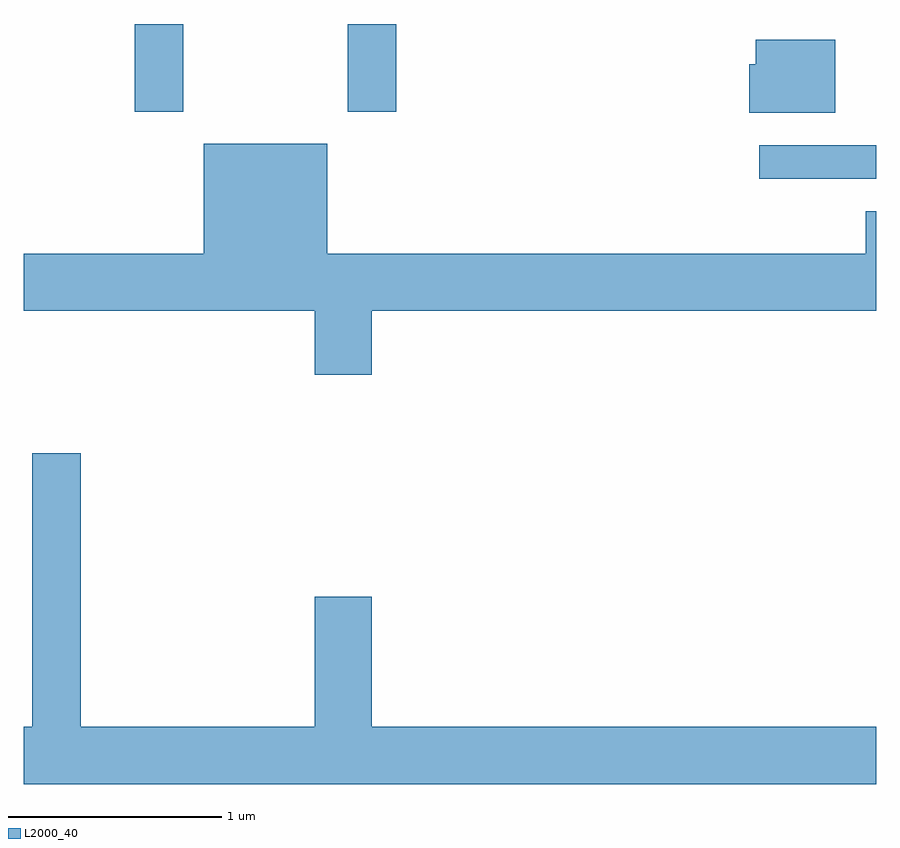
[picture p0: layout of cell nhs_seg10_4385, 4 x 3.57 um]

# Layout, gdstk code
import gdstk
lib = gdstk.Library(unit=1e-6, precision=1e-09)
def R(c, l, rs):  # rectangles x0, y0, x1, y1
    for r in rs: c.add(gdstk.rectangle(r[:2], r[2:], *l))
def P(c, l, *ps):  # polygons
    for p in ps: c.add(gdstk.Polygon(p, *l))
L2000_40 = (2000, 40)

nhs_seg10_4385 = lib.new_cell('nhs_seg10_4385')
R(nhs_seg10_4385, L2000_40, [(317.063,2187.796,317.611,2187.954), (314.131,2188.111,314.359,2188.522), (315.131,2188.111,315.359,2188.522)])
P(nhs_seg10_4385, L2000_40, [(317.419,2188.449),(317.046,2188.449),(317.046,2188.334),(317.016,2188.334),(317.016,2188.106),(317.419,2188.106)],
  [(315.244,2187.176),(317.611,2187.176),(317.611,2187.644),(317.561,2187.644),(317.561,2187.444),(315.034,2187.444),(315.034,2187.959),(314.456,2187.959),(314.456,2187.444),(313.611,2187.444),(313.611,2187.176),(314.976,2187.176),(314.976,2186.876),(315.244,2186.876)],
  [(317.611,2185.224),(315.244,2185.224),(315.244,2185.834),(314.976,2185.834),(314.976,2185.224),(313.879,2185.224),(313.879,2186.509),(313.651,2186.509),(313.651,2185.224),(313.611,2185.224),(313.611,2184.956),(317.611,2184.956)])

lib.write_gds('nhs_seg10_4385.gds')
